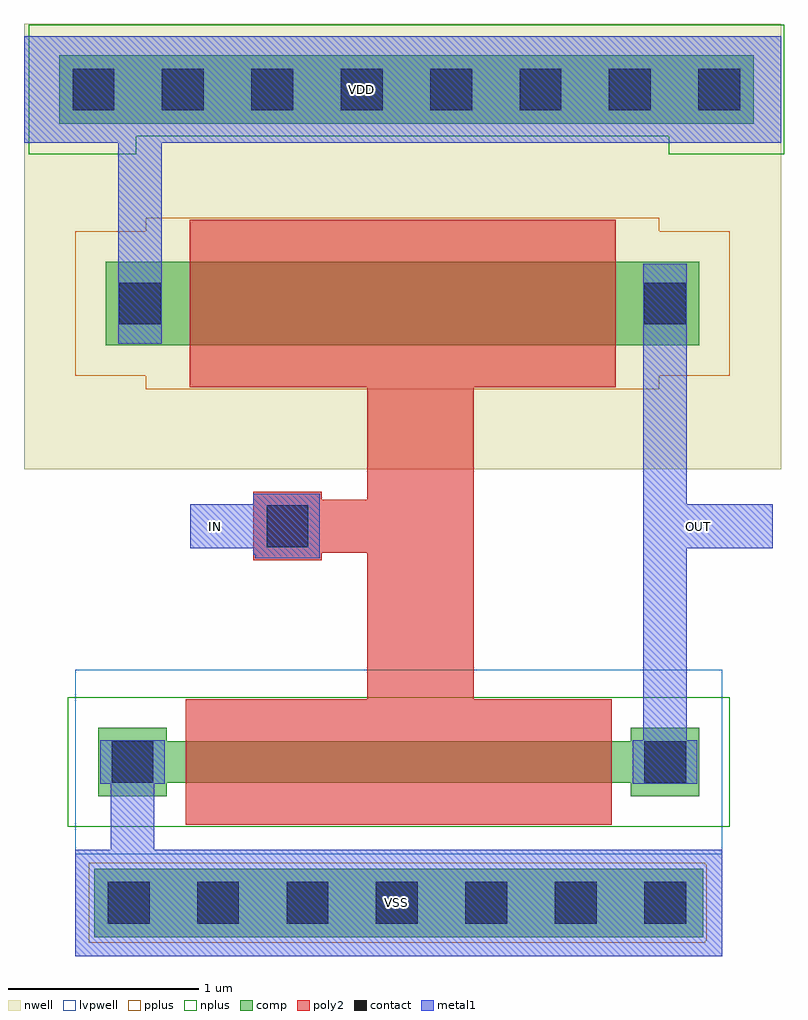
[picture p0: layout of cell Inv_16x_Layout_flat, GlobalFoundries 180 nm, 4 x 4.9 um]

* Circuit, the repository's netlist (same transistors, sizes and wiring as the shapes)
* NGSPICE file created from Inv_16x_Layout.ext - technology: gf180mcuC

.subckt nmos_3p3_T3QPFJ a_n316_n36# a_224_n22# a_n224_n66# VSUBS
X0 a_224_n22# a_n224_n66# a_n316_n36# VSUBS nfet_03v3 ad=0.152p pd=1.64u as=0.152p ps=1.64u w=0.22u l=2.24u
.ends

.subckt pmos_3p3_HYFKQ3 w_n398_n174# a_n312_n44# a_224_n44# a_n224_n88#
X0 a_224_n44# a_n224_n88# a_n312_n44# w_n398_n174# pfet_03v3 ad=0.194p pd=1.76u as=0.194p ps=1.76u w=0.44u l=2.24u
.ends

.subckt Inv_16x_Layout IN OUT VSS VDD
Xnmos_3p3_T3QPFJ_0 VSS OUT IN VSS nmos_3p3_T3QPFJ
Xpmos_3p3_HYFKQ3_0 VDD VDD OUT IN pmos_3p3_HYFKQ3
.ends

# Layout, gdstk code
import gdstk
lib = gdstk.Library(unit=1e-6, precision=1e-09)
def R(c, l, rs):  # rectangles x0, y0, x1, y1
    for r in rs: c.add(gdstk.rectangle(r[:2], r[2:], *l))
def A(c, l, x, y, w, h, nx, ny, dx, dy):  # array of equal rectangles
    R(c, l, [(x+i*dx, y+j*dy, x+i*dx+w, y+j*dy+h) for i in range(nx) for j in range(ny)])
nwell = (21, 0)
comp = (22, 0)
poly2 = (30, 0)
pplus = (31, 0)
nplus = (32, 0)
contact = (33, 0)
metal1 = (34, 0)
lvpwell = (204, 0)

inv_16x_layout_flat = lib.new_cell('Inv_16x_Layout_flat')
R(inv_16x_layout_flat, nwell, [(-0.29,2.025,3.69,4.365)])
R(inv_16x_layout_flat, comp, [(0.08,-0.435,3.28,-0.075), (0.1,0.305,0.46,0.375), (2.9,0.305,3.26,0.375), (0.1,0.375,3.26,0.595), (0.1,0.595,0.46,0.665), (2.9,0.595,3.26,0.665), (0.14,2.675,3.26,3.115), (-0.105,3.84,3.545,4.2)])
R(inv_16x_layout_flat, poly2, [(0.56,0.155,2.8,0.815), (1.515,0.815,2.075,1.585), (0.915,1.545,1.275,1.585), (0.915,1.585,2.075,1.865), (0.915,1.865,1.275,1.905), (1.515,1.865,2.075,2.455), (0.58,2.455,2.82,3.335)])
R(inv_16x_layout_flat, pplus, [(0.05,-0.465,3.29,-0.455), (0.05,-0.455,3.3,-0.055), (0.05,-0.055,3.29,-0.045), (0.35,2.445,3.05,2.515), (-0.02,2.515,3.42,3.275), (0.35,3.275,3.05,3.345)])
R(inv_16x_layout_flat, nplus, [(-0.06,0.145,3.42,0.825), (-0.265,3.68,0.3,3.775), (3.1,3.68,3.705,3.775), (-0.265,3.775,3.705,4.36)])
A(inv_16x_layout_flat, contact, 0.15, -0.365, 0.22, 0.22, 7, 1, 0.47, 0)
A(inv_16x_layout_flat, contact, -0.035, 3.91, 0.22, 0.22, 8, 1, 0.47, 0)
R(inv_16x_layout_flat, contact, [(0.17,0.375,0.39,0.595), (2.97,0.375,3.19,0.595), (0.985,1.615,1.205,1.835), (0.21,2.785,0.43,3.005), (2.97,2.785,3.19,3.005)])
R(inv_16x_layout_flat, metal1, [(-0.02,-0.535,3.38,0.025), (0.165,0.025,0.395,0.37), (0.11,0.37,0.45,0.6), (2.91,0.37,3.25,0.6), (2.965,0.6,3.195,1.61), (0.925,1.555,1.265,1.575), (0.915,1.575,1.265,1.61), (0.585,1.61,1.265,1.84), (2.965,1.61,3.645,1.84), (0.915,1.84,1.265,1.895), (2.965,1.84,3.195,3.105), (0.205,2.685,0.435,3.74), (-0.29,3.74,3.69,4.3)])
R(inv_16x_layout_flat, lvpwell, [(-0.02,0,3.38,0.97)])
inv_16x_layout_flat.add(gdstk.Label('IN', (0.715,1.725), layer=34, texttype=10))
inv_16x_layout_flat.add(gdstk.Label('OUT', (3.255,1.725), layer=34, texttype=10))
inv_16x_layout_flat.add(gdstk.Label('VSS', (1.67,-0.255), layer=22, texttype=0))
inv_16x_layout_flat.add(gdstk.Label('VDD', (1.485,4.02), layer=22, texttype=0))

lib.write_gds('Inv_16x_Layout_flat.gds')
